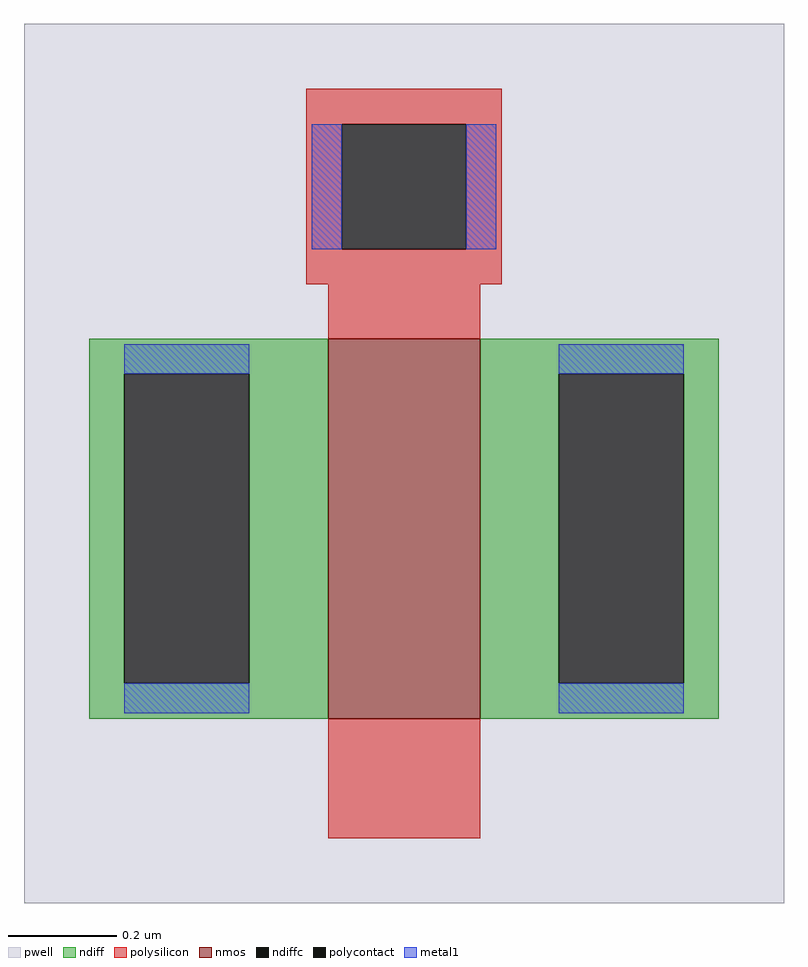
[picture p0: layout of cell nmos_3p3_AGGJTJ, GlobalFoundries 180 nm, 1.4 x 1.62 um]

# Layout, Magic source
magic
tech gf180mcuC
magscale 1 10
<< pwell >>
rect -140 -162 140 162
<< nmos >>
rect -28 -94 28 46
<< ndiff >>
rect -116 33 -28 46
rect -116 -81 -103 33
rect -57 -81 -28 33
rect -116 -94 -28 -81
rect 28 33 116 46
rect 28 -81 57 33
rect 103 -81 116 33
rect 28 -94 116 -81
<< ndiffc >>
rect -103 -81 -57 33
rect 57 -81 103 33
<< polysilicon >>
rect -36 125 36 138
rect -36 79 -23 125
rect 23 79 36 125
rect -36 66 36 79
rect -28 46 28 66
rect -28 -138 28 -94
<< polycontact >>
rect -23 79 23 125
<< metal1 >>
rect -34 79 -23 125
rect 23 79 34 125
rect -103 33 -57 44
rect -103 -92 -57 -81
rect 57 33 103 44
rect 57 -92 103 -81
<< properties >>
string gencell nmos_3p3
string library gf180mcu
string parameters w 0.7 l 0.280 m 1 nf 1 diffcov 100 polycov 100 guard 0 glc 0 grc 0 gtc 0 gbc 0 tbcov 100 rlcov 100 topc 1 botc 0 poverlap 0 doverlap 1 lmin 0.28 wmin 0.22 full_metal 0 compatible {nmos_3p3 nmos_6p0 nmos_6p0_nat}
<< end >>
